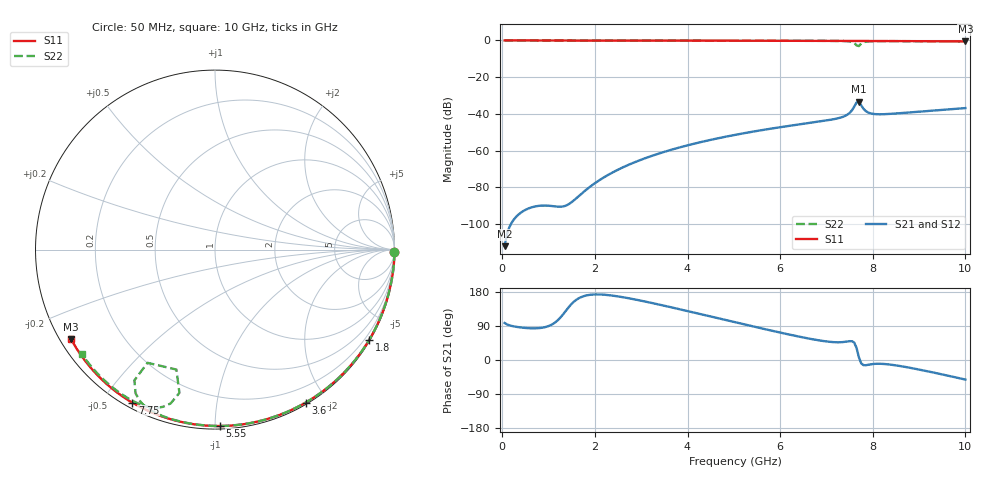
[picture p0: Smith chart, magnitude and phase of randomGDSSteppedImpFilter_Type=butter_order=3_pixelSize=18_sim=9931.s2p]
! freq	dB(S11)	phase(S11)	dB(S12)	phase(S12)
!  dB(S21)	phase(S21)	dB(S22)	phase(S22)
!S-par simulation data
#  GHz  S  DB  R 50
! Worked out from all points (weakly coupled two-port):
!   200 points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, 50 MHz to 10 GHz, reference 50 ohm
!   highest |S21| = -33.44 dB at 7.7 GHz (marker M1); lowest = -112.1 dB at 50 MHz (marker M2)
!   lowest |S11| = -0.5 dB at 10 GHz (marker M3), VSWR 34.91, Z = 1.55 - j14.3 ohm
!   |S11| at or under -10 dB: nowhere
!   |S22| runs from -3.1 to 0.0 dB; largest |S21 - S12| = 0
!   S11 on the Smith chart (normalised r, x): 50 MHz: open; 1.8 GHz: 0.03, -3.68; 3.6 GHz: 0.02, -1.76; 5.55 GHz: 0.02, -1.03; 7.75 GHz: 0.02, -0.60; 10 GHz: 0.03, -0.29
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0.05  -0.00 -0.9  -112.12 97.7  -112.12 97.7  -0.00 -0.8
0.9  -0.02 -15.4  -89.97 86.0  -89.97 86.0  -0.02 -14.7
1.75  -0.04 -29.6  -82.67 168.1  -82.67 168.1  -0.04 -28.3
1.8  -0.04 -30.4  -81.62 169.9  -81.62 169.9  -0.04 -29.0
1.9  -0.04 -32.1  -79.63 172.1  -79.63 172.1  -0.04 -30.6
2.25  -0.05 -37.8  -73.79 171.8  -73.79 171.8  -0.05 -36.1
2.6  -0.06 -43.5  -69.21 165.8  -69.21 165.8  -0.05 -41.6
3.4  -0.07 -56.2  -61.48 145.9  -61.48 145.9  -0.07 -53.8
3.6  -0.08 -59.3  -59.93 140.4  -59.93 140.4  -0.08 -56.8
5.05  -0.12 -81.1  -51.34 99.0  -51.34 99.0  -0.12 -77.9
5.55  -0.14 -88.3  -49.10 84.8  -49.10 84.8  -0.14 -84.9
6.7  -0.20 -104.3  -44.73 54.7  -44.73 54.7  -0.20 -101.1
7.35  -0.25 -113.1  -41.66 47.2  -41.66 47.2  -0.32 -112.0
7.5  -0.26 -115.1  -39.49 49.7  -39.49 49.7  -0.54 -116.6
7.6  -0.27 -116.4  -36.05 45.8  -36.05 45.8  -1.35 -121.6
7.65  -0.27 -117.1  -33.80 31.9  -33.80 31.9  -2.68 -120.8
7.7  -0.27 -117.8  -33.44 7.3  -33.44 7.3  -3.07 -107.8
7.75  -0.27 -118.4  -35.36 -8.8  -35.36 -8.8  -1.70 -103.9
7.85  -0.28 -119.8  -38.50 -13.7  -38.50 -13.7  -0.70 -108.3
7.95  -0.29 -121.1  -39.73 -11.5  -39.73 -11.5  -0.48 -111.6
8.35  -0.32 -126.4  -40.05 -11.7  -40.05 -11.7  -0.36 -119.3
10  -0.50 -148.0  -36.86 -51.7  -36.86 -51.7  -0.51 -142.0
